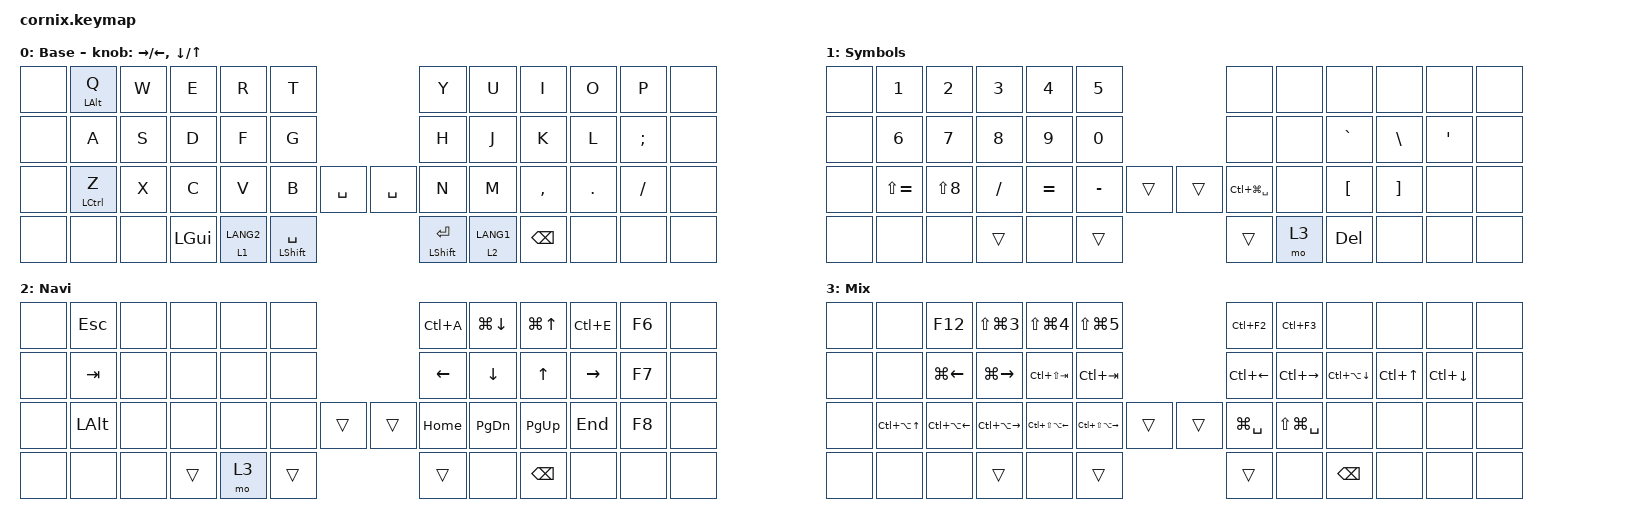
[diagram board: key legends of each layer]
/*
 * Copyright (c) 2020 The ZMK Contributors
 *
 * SPDX-License-Identifier: MIT
 */

#include "zmk-helpers/helper.h"
#include "includes/cornix54.h"

// tap windows for ctl alt and gui

#define HM_TAPPING_TERM 250
#define HM_TAPPING_REPEAT 210

// quick tapping for shift

#define HM_TAPPING_TERM_FAST 200
#define HM_PRIOR_IDLE 70
#define BASE 0
#define WIN 1
#define LOWER 2
#define RAISE 3
#define ADJUST 4
#define NAVI   5
#define NUM    6
#define DEBUG  7

// https://github.com/urob/zmk-config/tree/main#timeless-homerow-mods

#define KEYS_L LT0 LT1 LT2 LT3 LT4 LT5 LM0 LM1 LM2 LM3 LM4 LM5 LB0 LB1 LB2 LB3 LB4 LB5  // left hand
#define KEYS_R RT0 RT1 RT2 RT3 RT4 RT5 RM0 RM1 RM2 RM3 RM4 RM5 RB0 RB1 RB2 RB3 RB4 RB5  // right hand
#define THUMBS LH1 LH0 RH0 RH1
#define KEYS_T LH1 LH0 RH0 RH1
#define ZMK_POINTING_DEFAULT_SCRL_VAL 15

#include <behaviors.dtsi>
#include <dt-bindings/zmk/keys.h>

/ {
    // Activate ADJUST layer by pressing raise and lower

    behaviors {
        hm_l: homerow_mods_left {
            compatible = "zmk,behavior-hold-tap";
            #binding-cells = <2>;
            bindings = <&kp>, <&kp>;

            flavor = "balanced";
            tapping-term-ms = <HM_TAPPING_TERM>;
            quick-tap-ms = <200>;                // repeat on tap-into-hold
            require-prior-idle-ms = <HM_PRIOR_IDLE>;
            hold-trigger-key-positions = <KEYS_R KEYS_T>;
            hold-trigger-on-release;
        };

        hm_r: homerow_mods_right {
            compatible = "zmk,behavior-hold-tap";
            #binding-cells = <2>;
            bindings = <&kp>, <&kp>;

            flavor = "balanced";
            tapping-term-ms = <HM_TAPPING_TERM>;
            quick-tap-ms = <200>;
            require-prior-idle-ms = <HM_PRIOR_IDLE>;
            hold-trigger-key-positions = <KEYS_L KEYS_T>;
            hold-trigger-on-release;
        };

        // Positional Homerow mods for shift
        // Use faster tapping term and disable some features that may
        // cause false negatives.

        hm_shift_l: hm_shift_l {
            compatible = "zmk,behavior-hold-tap";
            #binding-cells = <2>;
            bindings = <&kp>, <&kp>;

            //flavor = "balanced";

            flavor = "balanced";
            tapping-term-ms = <HM_TAPPING_TERM_FAST>;
            quick-tap-ms = <200>;
            require-prior-idle-ms = <HM_PRIOR_IDLE>;
            hold-trigger-key-positions = <KEYS_R KEYS_T>;
            hold-trigger-on-release;
        };

        hm_shift_r: hm_shift_r {
            compatible = "zmk,behavior-hold-tap";
            #binding-cells = <2>;
            bindings = <&kp>, <&kp>;

            flavor = "balanced";
            tapping-term-ms = <HM_TAPPING_TERM_FAST>;
            quick-tap-ms = <200>;
            require-prior-idle-ms = <HM_PRIOR_IDLE>;
            hold-trigger-key-positions = <KEYS_L KEYS_T>;

            // for quick tapping; shift+~

            hold-trigger-on-release;
        };

        /*
         * Non-Positional Homerow Mods
         * Used for &mm_grescm_gui behavior on left hand.
         *
         * Usage: &hm LSHFT T
         * Tap: T
         * Tap-Tap-Hold: Repeat T
         * Hold: LSHIFT
         */

        hm: homerow_mods {
            compatible = "zmk,behavior-hold-tap";
            #binding-cells = <2>;
            bindings = <&kp>, <&kp>;

            flavor = "balanced";
            tapping-term-ms = <HM_TAPPING_TERM>;
            quick-tap-ms = <200>;
        };

        lt: layer_tap {
            compatible = "zmk,behavior-hold-tap";
            #binding-cells = <2>;
            bindings = <&mo>, <&kp>;

            flavor = "hold-preferred";
            tapping-term-ms = <HM_TAPPING_TERM>;
            quick-tap-ms = <180>;
        };
    };

    conditional_layers { compatible = "zmk,conditional-layers"; };

    combos { compatible = "zmk,combos"; };

    keymap {
        compatible = "zmk,keymap";

        default_layer {
            display-name = "Base";

            // ------------------------------------------------------------------------------------------------------------
            // |   `   |  1  |  2  |  3   |  4   |  5   |                   |  6   |  7    |  8    |  9   |   0   |       |
            // |  ESC  |  Q  |  W  |  E   |  R   |  T   |                   |  Y   |  U    |  I    |  O   |   P   | BKSPC |
            // |  TAB  |  A  |  S  |  D   |  F   |  G   |                   |  H   |  J    |  K    |  L   |   ;   |   '   |
            // | SHIFT |  Z  |  X  |  C   |  V   |  B   |  MUTE  |  |       |  N   |  M    |  ,    |  .   |   /   | SHIFT |
            //               | GUI | ALT  | CTRL | LOWER|  ENTER |  | SPACE | RAISE| CTRL  | ALT   | GUI  |

            bindings = <
&none  &hm LEFT_ALT Q  &kp W  &kp E         &kp R        &kp T                                       &kp Y                 &kp U        &kp I          &kp O    &kp P          &none
&none  &kp A           &kp S  &kp D         &kp F        &kp G                                       &kp H                 &kp J        &kp K          &kp L    &kp SEMICOLON  &none
&none  &hm LCTRL Z     &kp X  &kp C         &kp V        &kp B                 &kp SPACE  &kp SPACE  &kp N                 &kp M        &kp COMMA      &kp DOT  &kp FSLH       &none
&none  &none           &none  &kp LEFT_GUI  &lt 1 LANG2  &hm LEFT_SHIFT SPACE                        &hm LEFT_SHIFT ENTER  &lt 2 LANG1  &kp BACKSPACE  &none    &none          &none
            >;

            sensor-bindings =
                <&inc_dec_kp RIGHT LEFT>,
                <&inc_dec_kp DOWN UP_ARROW>;
        };

        symbol_layer {
            display-name = "Symbols";

            // ------------------------------------------------------------------------------------------------------------
            // |   `   |  1  |  2  |  3   |  4   |  5   |                   |  6   |  7    |  8    |  9   |   0   |       |
            // |  ESC  |  Q  |  W  |  E   |  R   |  T   |                   |  Y   |  U    |  I    |  O   |   P   | BKSPC |
            // |  TAB  |  A  |  S  |  D   |  F   |  G   |                   |  H   |  J    |  K    |  L   |   ;   |   '   |
            // | SHIFT |  Z  |  X  |  C   |  V   |  B   |  MUTE  |  |       |  N   |  M    |  ,    |  .   |   /   | SHIFT |
            //               | GUI | ALT  | CTRL | LOWER|  ENTER |  | SPACE | RAISE| CTRL  | ALT   | GUI  |

            bindings = <
&none  &kp N1         &kp N2      &kp N3    &kp N4     &kp N5                     &none              &none  &none             &none              &none    &none
&none  &kp N6         &kp N7      &kp N8    &kp N9     &kp N0                     &none              &none  &kp GRAVE         &kp BSLH           &kp SQT  &none
&none  &kp LS(EQUAL)  &kp LS(N8)  &kp FSLH  &kp EQUAL  &kp MINUS  &trans  &trans  &kp LC(LG(SPACE))  &none  &kp LEFT_BRACKET  &kp RIGHT_BRACKET  &none    &none
&none  &none          &none       &trans    &none      &trans                     &trans             &mo 3  &kp DELETE        &none              &none    &none
            >;
        };

        navi_layer {
            bindings = <
&none  &kp ESCAPE    &none  &none   &none  &none                   &kp LC(A)  &kp LG(DOWN_ARROW)  &kp LG(UP_ARROW)  &kp LC(E)  &kp F6  &none
&none  &kp TAB       &none  &none   &none  &none                   &kp LEFT   &kp DOWN            &kp UP_ARROW      &kp RIGHT  &kp F7  &none
&none  &kp LEFT_ALT  &none  &none   &none  &none   &trans  &trans  &kp HOME   &kp PAGE_DOWN       &kp PAGE_UP       &kp END    &kp F8  &none
&none  &none         &none  &trans  &mo 3  &trans                  &trans     &none               &kp BACKSPACE     &none      &none   &none
            >;

            label = "Navi";
        };

        mix_layer {
            bindings = <
&none  &none                 &kp F12           &kp LS(LG(N3))     &kp LS(LG(N4))        &kp LS(LG(N5))                         &kp LC(F2)     &kp LC(F3)         &none                   &none             &none         &none
&none  &none                 &kp LG(LEFT)      &kp LG(RIGHT)      &kp LC(LS(TAB))       &kp LC(TAB)                            &kp LC(LEFT)   &kp LC(RIGHT)      &kp LC(LA(DOWN_ARROW))  &kp LC(UP_ARROW)  &kp LC(DOWN)  &none
&none  &kp LC(LA(UP_ARROW))  &kp LC(LA(LEFT))  &kp LC(LA(RIGHT))  &kp LC(LS(LA(LEFT)))  &kp LC(LS(LA(RIGHT)))  &trans  &trans  &kp LG(SPACE)  &kp LS(LG(SPACE))  &none                   &none             &none         &none
&none  &none                 &none             &trans             &none                 &trans                                 &trans         &none              &kp BACKSPACE           &none             &none         &none
            >;

            label = "Mix";
        };
    };
};
